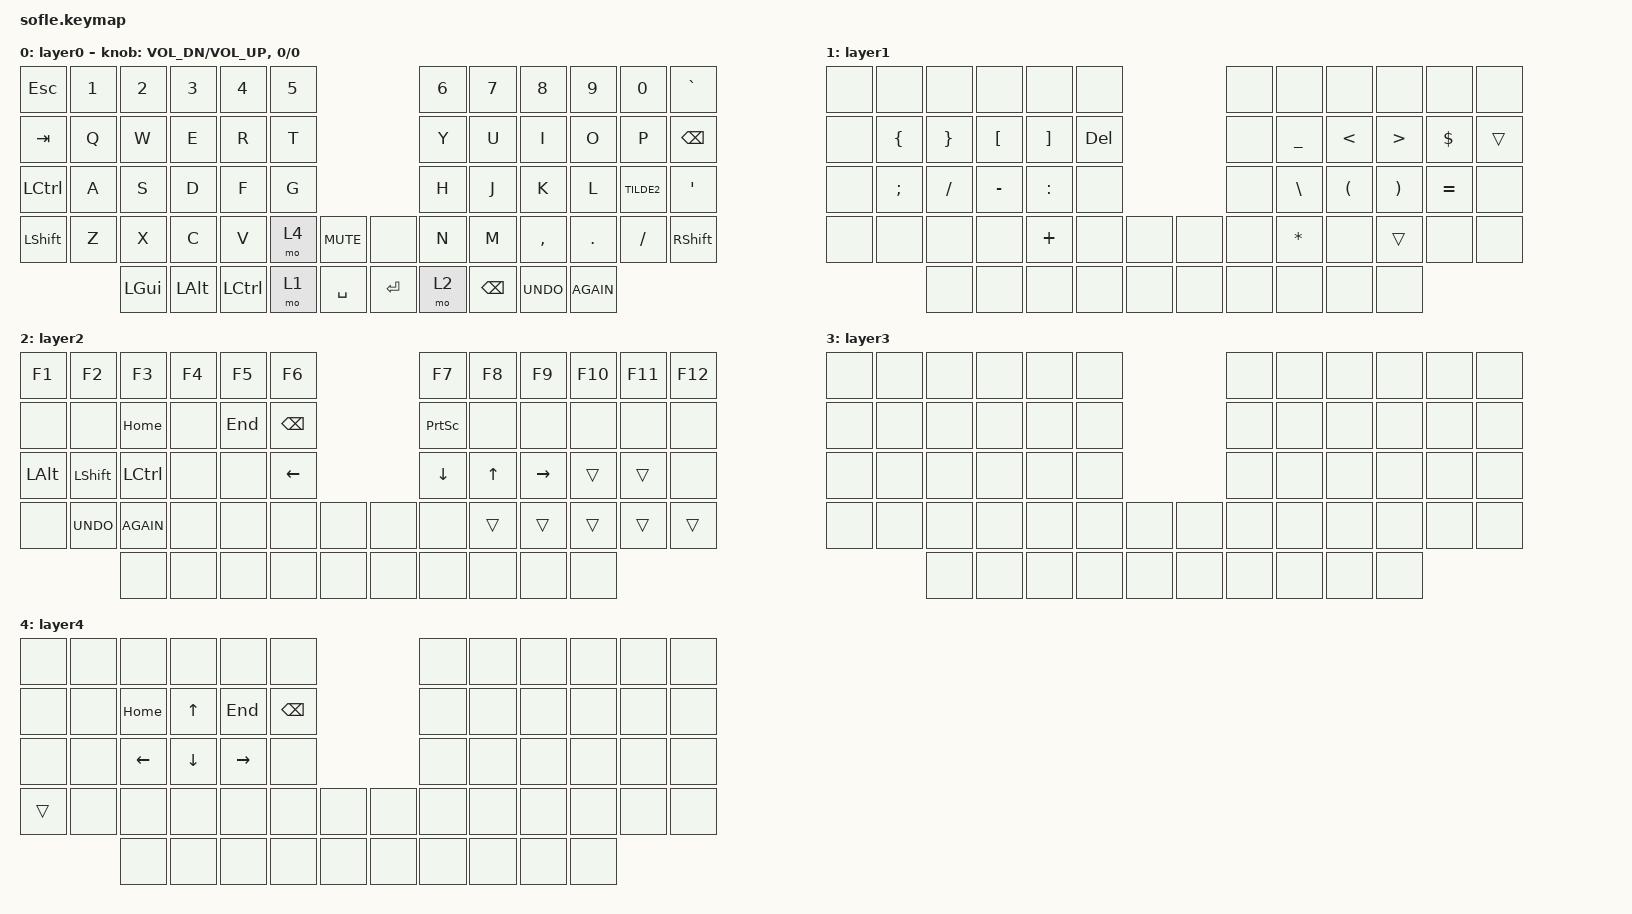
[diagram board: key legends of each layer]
/*
 * Copyright (c) 2020 The ZMK Contributors
 *
 * SPDX-License-Identifier: MIT
 */

#include <behaviors.dtsi>
#include <dt-bindings/zmk/keys.h>

/ {
    keymap {
        compatible = "zmk,keymap";

        layer0 {
            bindings = <
&kp ESC         &kp N1  &kp N2    &kp N3    &kp N4     &kp N5                           &kp N6  &kp N7    &kp N8      &kp N9       &kp N0      &kp GRAVE
&kp TAB         &kp Q   &kp W     &kp E     &kp R      &kp T                            &kp Y   &kp U     &kp I       &kp O        &kp P       &kp BSPC
&kp LCTRL       &kp A   &kp S     &kp D     &kp F      &kp G                            &kp H   &kp J     &kp K       &kp L        &kp TILDE2  &kp SINGLE_QUOTE
&kp LEFT_SHIFT  &kp Z   &kp X     &kp C     &kp V      &mo 4   &kp K_MUTE    &none      &kp N   &kp M     &kp COMMA   &kp DOT      &kp SLASH   &kp RIGHT_SHIFT
                        &kp LGUI  &kp LALT  &kp LCTRL  &mo 1   &kp SPACE     &kp ENTER  &mo 2   &kp BSPC  &kp K_UNDO  &kp K_AGAIN
            >;

            sensor-bindings =
                <&inc_dec_kp C_VOL_DN K_VOLUME_UP>,
                <&inc_dec_kp 0 0>;
        };

        layer1 {
            bindings = <
&none  &none           &none            &none             &none              &none                    &none  &none          &none                 &none                  &none       &none
&none  &kp LEFT_BRACE  &kp RIGHT_BRACE  &kp LEFT_BRACKET  &kp RIGHT_BRACKET  &kp DEL                  &none  &kp UNDER      &kp LESS_THAN         &kp GREATER_THAN       &kp DOLLAR  &trans
&none  &kp SEMICOLON   &kp SLASH        &kp MINUS         &kp COLON          &none                    &none  &kp BACKSLASH  &kp LEFT_PARENTHESIS  &kp RIGHT_PARENTHESIS  &kp EQUAL   &none
&none  &none           &none            &none             &kp PLUS           &none    &none    &none  &none  &kp ASTERISK   &none                 &trans                 &none       &none
                       &none            &none             &none              &none    &none    &none  &none  &none &none &none 
            >;
        };

        layer2 {
            bindings = <
&kp F1    &kp F2      &kp F3       &kp F4  &kp F5   &kp F6                    &kp F7           &kp F8  &kp F9     &kp F10  &kp F11  &kp F12
&none     &none       &kp HOME     &none   &kp END  &kp BSPC                  &kp PRINTSCREEN  &none   &none      &none    &none    &none
&kp LALT  &kp LSHIFT  &kp LCTRL    &none   &none    &kp LEFT                  &kp DOWN         &kp UP  &kp RIGHT  &trans   &trans   &none
&none     &kp K_UNDO  &kp K_AGAIN  &none   &none    &none     &none    &none  &none            &trans  &trans      &trans  &trans  &trans
                        &none      &none    &none    &none     &none    &none &none             &none  &none        &none 
            >;
        };

        layer3 {
            bindings = <
&none  &none  &none  &none  &none  &none                  &none  &none  &none  &none  &none  &none
&none  &none  &none  &none  &none  &none                  &none  &none  &none  &none  &none  &none
&none  &none  &none  &none  &none  &none                  &none  &none  &none  &none  &none  &none
&none  &none  &none  &none  &none  &none  &none    &none  &none  &none  &none  &none  &none  &none
&none       &none       &none       &none       &none       &none &none  &none  &none  &none 
            >;
        };

        layer4 {
            bindings = <
&none   &none  &none     &none     &none      &none                     &none  &none  &none  &none  &none  &none
&none   &none  &kp HOME  &kp UP    &kp END    &kp BSPC                  &none  &none  &none  &none  &none  &none
&none   &none  &kp LEFT  &kp DOWN  &kp RIGHT  &none                     &none  &none  &none  &none  &none  &none
&trans  &none  &none     &none     &none      &none     &none    &none  &none  &none  &none  &none  &none  &none
                &none     &none     &none     &none     &none    &none &none  &none  &none  &none 
            >;
        };
    };
};
